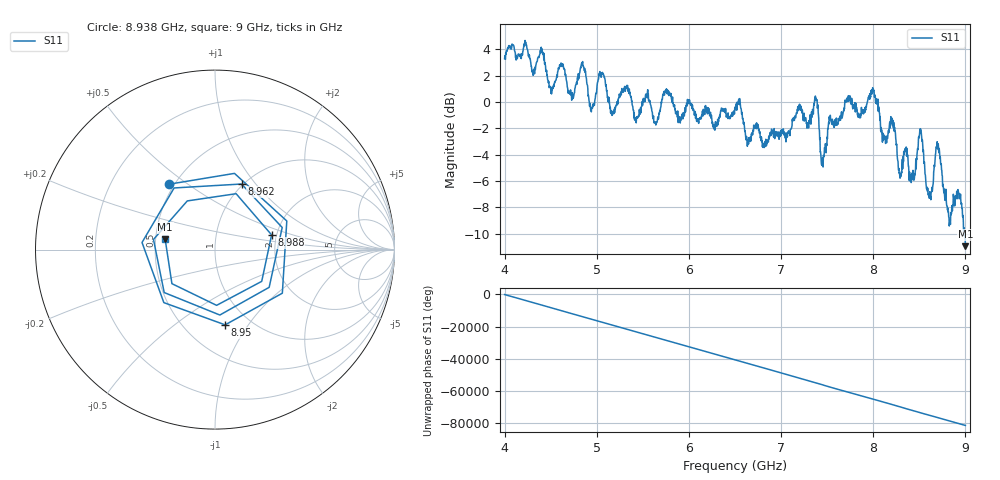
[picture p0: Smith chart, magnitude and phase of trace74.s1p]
! Created with skrf 1.8.0 (http://scikit-rf.org).
# Hz S RI R 50.0
!freq ReS11 ImS11
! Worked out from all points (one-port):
!   1601 points, 4 GHz to 9 GHz, reference 50 ohm
!   lowest |S11| = -11.0 dB at 9 GHz (marker M1), VSWR 1.79, Z = 28.1 + j3.49 ohm
!   |S11| at or under -10 dB: 8.980629 GHz to 8.981614 GHz (984.9 kHz wide, 0.011 % of centre); 8.990588 GHz to end of sweep
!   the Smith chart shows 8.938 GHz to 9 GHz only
!   S11 on the Smith chart (normalised r, x): 8.938 GHz: 0.47, +0.42; 8.95 GHz: 0.77, -0.79; 8.962 GHz: 0.98, +0.85; 8.988 GHz: 1.88, +0.34; 9 GHz: 0.56, +0.07
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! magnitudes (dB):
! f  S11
! 4 GHz  3.3
! 4.625 GHz  2.9
! 4.731 GHz  0.4
! 4.853 GHz  2.8
! 4.947 GHz  -0.4
! 5.047 GHz  1.9
! 5.25 GHz  0.4
! 5.875 GHz  -1.2
! 6.5 GHz  -0.6
! 6.822 GHz  -3.2
! 7.125 GHz  -1.5
! 7.378 GHz  0.1
! 7.453 GHz  -4.5
! 7.75 GHz  0.4
! 7.997 GHz  0.9
! 8.122 GHz  -2.8
! 8.216 GHz  -1.6
! 8.284 GHz  -5.4
! 8.375 GHz  -4.1
! 8.512 GHz  -2.0
! 8.6 GHz  -7.1
! 8.697 GHz  -3.6
! 8.822 GHz  -8.8
! 8.938 GHz  -7.0
! 8.95 GHz  -7.5
! 8.962 GHz  -8.1
! 8.988 GHz  -9.7
! 9 GHz  -11.0
